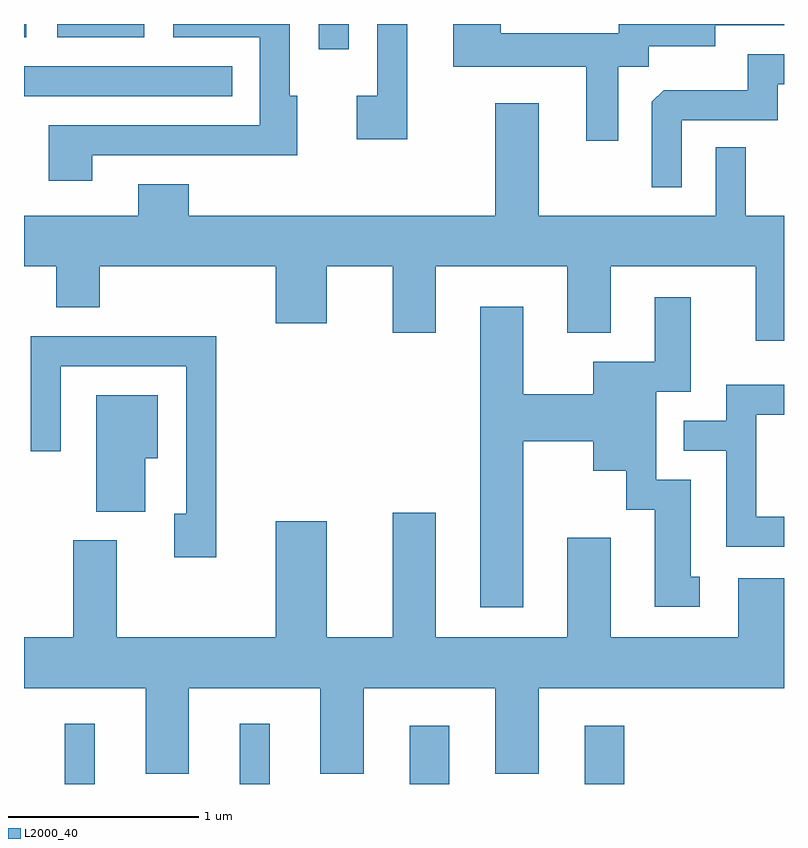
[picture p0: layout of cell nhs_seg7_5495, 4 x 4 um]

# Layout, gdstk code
import gdstk
lib = gdstk.Library(unit=1e-6, precision=1e-09)
def R(c, l, rs):  # rectangles x0, y0, x1, y1
    for r in rs: c.add(gdstk.rectangle(r[:2], r[2:], *l))
def P(c, l, *ps):  # polygons
    for p in ps: c.add(gdstk.Polygon(p, *l))
L2000_40 = (2000, 40)

nhs_seg7_5495 = lib.new_cell('nhs_seg7_5495')
R(nhs_seg7_5495, L2000_40, [(353.826,1718.252,353.984,1718.568), (354.746,1718.252,354.904,1718.568), (355.641,1718.252,355.849,1718.559), (356.561,1718.252,356.769,1718.559), (353.611,1721.871,354.708,1722.029), (355.161,1722.118,355.319,1722.252), (353.611,1722.181,353.624,1722.252), (353.786,1722.181,354.244,1722.252)])
P(nhs_seg7_5495, L2000_40, [(353.969,1721.561),(355.049,1721.561),(355.049,1721.874),(355.009,1721.874),(355.009,1722.252),(354.396,1722.252),(354.396,1722.181),(354.851,1722.181),(354.851,1721.719),(353.741,1721.719),(353.741,1721.426),(353.969,1721.426)],
  [(356.739,1722.026),(356.899,1722.026),(356.899,1722.136),(357.249,1722.136),(357.249,1722.246),(357.611,1722.246),(357.611,1722.252),(356.741,1722.252),(356.741,1722.204),(356.119,1722.204),(356.119,1722.252),(355.871,1722.252),(355.871,1722.026),(356.571,1722.026),(356.571,1721.638),(356.739,1721.638)],
  [(355.629,1722.252),(355.471,1722.252),(355.471,1721.874),(355.361,1721.874),(355.361,1721.646),(355.629,1721.646)],
  [(357.074,1721.746),(357.579,1721.746),(357.579,1721.936),(357.611,1721.936),(357.611,1722.094),(357.421,1722.094),(357.421,1721.904),(356.977,1721.904),(356.916,1721.844),(356.916,1721.393),(357.074,1721.393)],
  [(356.319,1721.834),(356.091,1721.834),(356.091,1721.244),(354.479,1721.244),(354.479,1721.409),(354.211,1721.409),(354.211,1721.244),(353.611,1721.244),(353.611,1720.976),(353.781,1720.976),(353.781,1720.761),(354.009,1720.761),(354.009,1720.976),(354.936,1720.976),(354.936,1720.676),(355.204,1720.676),(355.204,1720.976),(355.551,1720.976),(355.551,1720.626),(355.779,1720.626),(355.779,1720.976),(356.471,1720.976),(356.471,1720.626),(356.699,1720.626),(356.699,1720.976),(357.461,1720.976),(357.461,1720.586),(357.611,1720.586),(357.611,1721.244),(357.409,1721.244),(357.409,1721.603),(357.251,1721.603),(357.251,1721.244),(356.319,1721.244)],
  [(356.239,1720.056),(356.606,1720.056),(356.606,1719.901),(356.781,1719.901),(356.781,1719.696),(356.931,1719.696),(356.931,1719.186),(357.168,1719.186),(357.168,1719.344),(357.119,1719.344),(357.119,1719.854),(356.939,1719.854),(356.939,1720.316),(357.119,1720.316),(357.119,1720.814),(356.931,1720.814),(356.931,1720.474),(356.606,1720.474),(356.606,1720.304),(356.239,1720.304),(356.239,1720.764),(356.011,1720.764),(356.011,1719.181),(356.239,1719.181)],
  [(354.624,1720.609),(353.646,1720.609),(353.646,1720.003),(353.804,1720.003),(353.804,1720.451),(354.466,1720.451),(354.466,1719.674),(354.401,1719.674),(354.401,1719.446),(354.624,1719.446)],
  [(357.611,1719.659),(357.464,1719.659),(357.464,1720.196),(357.611,1720.196),(357.611,1720.354),(357.306,1720.354),(357.306,1720.164),(357.083,1720.164),(357.083,1720.006),(357.306,1720.006),(357.306,1719.501),(357.611,1719.501)],
  [(354.249,1719.966),(354.314,1719.966),(354.314,1720.299),(353.991,1720.299),(353.991,1719.686),(354.249,1719.686)],
  [(354.479,1718.756),(355.171,1718.756),(355.171,1718.306),(355.399,1718.306),(355.399,1718.756),(356.091,1718.756),(356.091,1718.306),(356.319,1718.306),(356.319,1718.756),(357.611,1718.756),(357.611,1719.334),(357.371,1719.334),(357.371,1719.024),(356.699,1719.024),(356.699,1719.549),(356.471,1719.549),(356.471,1719.024),(355.779,1719.024),(355.779,1719.679),(355.551,1719.679),(355.551,1719.024),(355.204,1719.024),(355.204,1719.634),(354.936,1719.634),(354.936,1719.024),(354.099,1719.024),(354.099,1719.534),(353.871,1719.534),(353.871,1719.024),(353.611,1719.024),(353.611,1718.756),(354.251,1718.756),(354.251,1718.306),(354.479,1718.306)])

lib.write_gds('nhs_seg7_5495.gds')
